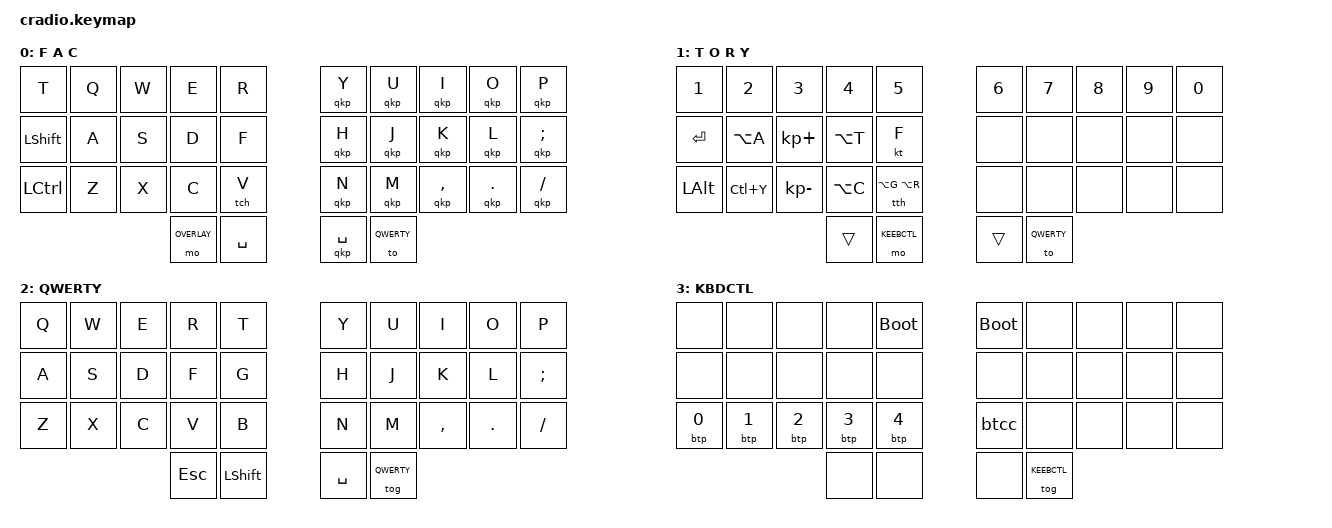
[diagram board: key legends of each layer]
/*
 * Copyright (c) 2024-2025 Allister MacLeod
 *
 * SPDX-License-Identifier: MIT
 */

#include <behaviors.dtsi>
#include <dt-bindings/zmk/bt.h>
#include <dt-bindings/zmk/keys.h>

#include "zmk-helpers/key-labels/34.h"

#include "glam-util.dtsi"
#include "glam-gaming.dtsi"

#define FACTORY 0
#define GAMING  0
#define OVERLAY 1
#define QWERTY  2
#define KEEBCTL 3

#define UNUSED 0

#include "glam-bt-kbdctl.dtsi"

/ {
keymap {
  compatible = "zmk,keymap";

  factorio_layer {
// ,-----------------------------.   ,-----------------------------.
// |  T  |  Q  |  W  |  E  |  R  |   |  Y  |  U  |  I  |  O  |  P  |
// |Shift|  A  |  S  |  D  |  F  |   |  H  |  J  |  K  |  L  |  ;  |
// | Ctrl|  Z  |  X  |  C  |  V  |   |  N  |  M  |  ,  |  .  |  /  |
// `-----------------| OVL |Space|   |Space|QWRTY|-----------------'
    bindings = <
 &kp T      &kp Q &kp W &kp E &kp R        &qkp Y &qkp U &qkp I     &qkp O   &qkp P
 &kp LSHIFT &kp A &kp S &kp D &kp F        &qkp H &qkp J &qkp K     &qkp L   &qkp SEMI
 &kp LCTRL  &kp Z &kp X &kp C &tch V       &qkp N &qkp M &qkp COMMA &qkp DOT &qkp FSLH
              &mo OVERLAY &kp SPACE      &qkp SPACE &to QWERTY
    >;
    display-name = "F A C";
  };

  overlay_layer {
// ,-----------------------------.   ,-----------------------------.
// |  1  |  2  |  3  |  4  |  5  |   |  6  |  7  |  8  |  9  |  0  |
// |Enter|Alt-A| KP+ |Alt-T|F-Lok|   |XXXXX|XXXXX|XXXXX|XXXXX|XXXXX|
// | Alt | ^Y  | KP- |Alt-C|M-g/r|   |XXXXX|XXXXX|XXXXX|XXXXX|XXXXX|
// `-----------------|#####|KBCTL|   |     |QWRTY|-----------------'
    bindings = <
 &kp N1   &kp N2    &kp N3       &kp N4    &kp N5             &kp N6 &kp N7 &kp N8 &kp N9 &kp N0
 &kp RET  &kp LA(A) &kp KP_PLUS  &kp LA(T) &kt F              &none  &none  &none  &none  &none
 &kp LALT &kp LC(Y) &kp KP_MINUS &kp LA(C) &tth LA(G) LA(R)   &none  &none  &none  &none  &none
                                  &trans &mo KEEBCTL         &trans &to QWERTY
    >;
    display-name = "T O R Y";
  };

    qwerty_layer {
// ,-----------------------------.   ,-----------------------------.
// |  Q  |  W  |  E  |  R  |  T  |   |  Y  |  U  |  I  |  O  |  P  |
// |  A  |  S  |  D  |  F  |  G  |   |  H  |  J  |  K  |  L  |  ;  |
// |  Z  |  X  |  C  |  V  |  B  |   |  N  |  M  |  ,  |  .  |  /  |
// `-----------------| Esc |Shift|   |Space|#####|-----------------'
    bindings = <
  &kp Q   &kp W   &kp E   &kp R   &kp T     &kp Y  &kp U   &kp I     &kp O   &kp P
  &kp A   &kp S   &kp D   &kp F   &kp G     &kp H  &kp J   &kp K     &kp L   &kp SEMI
  &kp Z   &kp X   &kp C   &kp V   &kp B     &kp N  &kp M   &kp COMMA &kp DOT &kp FSLH
                      &kp ESC &kp LSHIFT   &kp SPACE &tog QWERTY
    >;
    display-name = "QWERTY";
  };

  keyboard_control_layer {
    bindings = <
// ,-----------------------------.   ,-----------------------------.
// |     |     |     |     | DFU |   | DFU |     |     |     |     |
// |     |     |     |     |     |   |     |     |     |     |     |
// | BT1 | BT2 | BT3 | BT4 | BT5 |   |ClCur| Clr--[ + ]--All |     |
// `-----------------|     |     |   |     |Base |-----------------'
  &none  &none  &none  &none  &bootloader  &bootloader &none &none &none &none
  &none  &none  &none  &none  &none        &none &none &none &none &none
  &btp 0 &btp 1 &btp 2 &btp 3 &btp 4       &btcc &none &none &none &none
                          &none &none     &none &tog KEEBCTL
    >;
    display-name = "KBDCTL";
  };
}; // end keymap

combos {
  compatible = "zmk,combos";

#include "glam-factorio-combos.dtsi"

#include "glam-sym-nav-num-combos.dtsi"

  // All four thumb keys for keyboard control layer.
  combo_thumbs_keyboard_control {
    timeout-ms = <50>;
    key-positions = <LH1 LH0 RH0 RH1>;
    bindings = <&tog KEEBCTL>;
  };
  // Right hand index and ring fingers for BT_CLR_ALL but only on KEEBCTL layer.
  combo_bt_clear_all {
    timeout-ms = <50>;
    key-positions = <RB1 RB3>;
    bindings = <&btclall>;
    layers = <KEEBCTL>;
  };

}; // end combos

behaviors {
  // Hold tap where the tap is a sticky layer, kind of the converse of
  // a layer-tap. This has a short tapping term since it is meant for
  // the Factorio layer's "hold to pick up from ground (F), tap for
  // sticky overlay" binding, and I do not want to have to wait too
  // terribly long for stuff to start getting picked up.
  slt: sticky_layer_tap {
    compatible = "zmk,behavior-hold-tap";
    #binding-cells = <2>;
    bindings = <&kp &sl>;
    flavor = "tap-preferred";
    tapping-term-ms = <200>;
    quick-tap-ms = <100>;
  };
  // Hold a key while waiting for a possible tap of a key within the
  // layer specified in the tap part. It has a high tapping term so
  // that you can hold the key for a couple of seconds and still
  // decide to hit a layer key.
  mlt: momentary_layer_tap {
    compatible = "zmk,behavior-hold-tap";
    #binding-cells = <2>;
    bindings = <&kp &mo>;
    flavor = "tap-preferred";
    tapping-term-ms = <2500000>;
    hold-while-undecided;
  };
}; // end behaviors

macros {
  qkp: qwerty_keypress {
    compatible = "zmk,behavior-macro-one-param";
    #binding-cells = <1>;
    bindings
      = <&to QWERTY>
      , <&macro_param_1to1>
      , <&kp MACRO_PLACEHOLDER>
      ;
  };
}; // end macros
};
